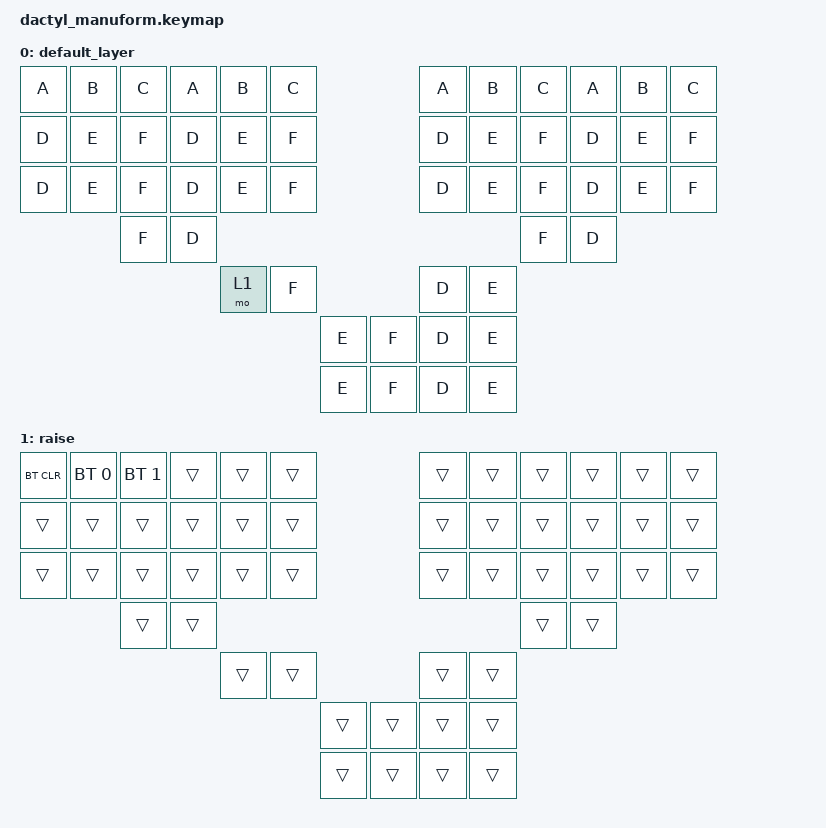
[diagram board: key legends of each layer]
#include <behaviors.dtsi>
#include <dt-bindings/zmk/bt.h>
#include <dt-bindings/zmk/keys.h>

/ {
    keymap {
        compatible = "zmk,keymap";

        default_layer { 
            bindings = <
                &kp A  &kp B  &kp C  &kp A  &kp B  &kp C                         &kp A  &kp B  &kp C  &kp A  &kp B  &kp C
                &kp D  &kp E  &kp F  &kp D  &kp E  &kp F                         &kp D  &kp E  &kp F  &kp D  &kp E  &kp F
                &kp D  &kp E  &kp F  &kp D  &kp E  &kp F                         &kp D  &kp E  &kp F  &kp D  &kp E  &kp F
                              &kp F  &kp D                                                     &kp F  &kp D  
                                            &mo 1 &kp F                         &kp D  &kp E
                                                          &kp E  &kp F    &kp D  &kp E
                                                          &kp E  &kp F    &kp D  &kp E
            >;
        };
        
        raise { 
            bindings = <
                &bt BT_CLR  &bt BT_SEL 0   &bt BT_SEL 1    &trans   &trans   &trans                          &trans   &trans   &trans   &trans   &trans   &trans 
                &trans   &trans   &trans   &trans   &trans   &trans                          &trans   &trans   &trans   &trans   &trans   &trans 
                &trans   &trans   &trans   &trans   &trans   &trans                          &trans   &trans   &trans   &trans   &trans   &trans 
                              &trans   &trans                                                      &trans   &trans   
                                            &trans   &trans                          &trans   &trans 
                                                          &trans   &trans     &trans   &trans 
                                                          &trans   &trans     &trans   &trans 
            >;
        };
    };
 };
